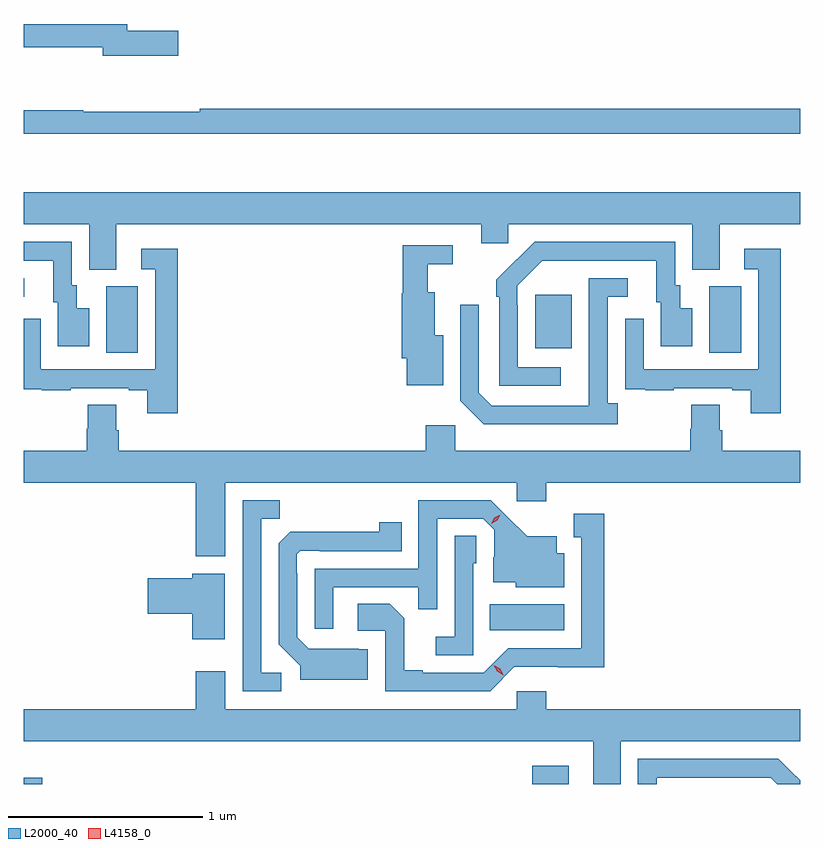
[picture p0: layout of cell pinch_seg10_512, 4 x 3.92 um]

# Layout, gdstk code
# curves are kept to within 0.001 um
import gdstk
lib = gdstk.Library(unit=1e-6, precision=1e-09)
def R(c, l, rs):  # rectangles x0, y0, x1, y1
    for r in rs: c.add(gdstk.rectangle(r[:2], r[2:], *l))
def P(c, l, *ps):  # polygons
    for p in ps: c.add(gdstk.Polygon(p, *l))
L2000_40 = (2000, 40)
L4158_0 = (4158, 0)

pinch_seg10_512 = lib.new_cell('pinch_seg10_512')
R(pinch_seg10_512, L2000_40, [(220.216,1272.123,220.312,1272.156), (222.835,1272.123,223.024,1272.217), (222.616,1272.914,223,1273.048), (220.64,1274.344,220.804,1274.688), (223.748,1274.344,223.912,1274.688), (222.851,1274.369,223.039,1274.644), (220.216,1274.634,220.219,1274.73)])
P(pinch_seg10_512, L2000_40, [(221.011,1276.005),(220.75,1276.005),(220.75,1276.039),(220.216,1276.039),(220.216,1275.918),(220.622,1275.918),(220.622,1275.875),(221.011,1275.875)],
  [(224.216,1275.602),(221.122,1275.602),(221.122,1275.587),(220.522,1275.587),(220.522,1275.595),(220.216,1275.595),(220.216,1275.474),(224.216,1275.474)],
  [(220.693,1275.008),(222.572,1275.008),(222.572,1274.91),(222.711,1274.91),(222.711,1275.008),(223.661,1275.008),(223.661,1274.773),(223.801,1274.773),(223.801,1275.008),(224.216,1275.008),(224.216,1275.172),(220.216,1275.172),(220.216,1275.008),(220.553,1275.008),(220.553,1274.773),(220.693,1274.773)],
  [(222.982,1274.271),(222.762,1274.271),(222.762,1274.591),(222.759,1274.591),(222.759,1274.691),(222.888,1274.82),(223.475,1274.82),(223.475,1274.604),(223.499,1274.604),(223.499,1274.379),(223.66,1274.379),(223.66,1274.575),(223.597,1274.575),(223.597,1274.694),(223.572,1274.694),(223.572,1274.916),(222.848,1274.916),(222.651,1274.721),(222.651,1274.633),(222.666,1274.633),(222.666,1274.175),(222.982,1274.175)],
  [(220.552,1274.575),(220.489,1274.575),(220.489,1274.694),(220.464,1274.694),(220.464,1274.916),(220.216,1274.916),(220.216,1274.82),(220.367,1274.82),(220.367,1274.604),(220.391,1274.604),(220.391,1274.379),(220.552,1274.379)],
  [(222.376,1274.434),(222.334,1274.434),(222.334,1274.656),(222.298,1274.656),(222.298,1274.801),(222.427,1274.801),(222.427,1274.898),(222.169,1274.898),(222.169,1274.652),(222.164,1274.652),(222.164,1274.316),(222.188,1274.316),(222.188,1274.177),(222.376,1274.177)],
  [(224.117,1274.881),(223.929,1274.881),(223.929,1274.775),(224.001,1274.775),(224.001,1274.259),(223.41,1274.259),(223.41,1274.521),(223.314,1274.521),(223.314,1274.266),(223.315,1274.266),(223.315,1274.157),(223.417,1274.157),(223.417,1274.151),(223.565,1274.151),(223.565,1274.163),(223.865,1274.163),(223.865,1274.151),(223.961,1274.151),(223.961,1274.034),(224.117,1274.034)],
  [(221.009,1274.881),(220.821,1274.881),(220.821,1274.775),(220.893,1274.775),(220.893,1274.259),(220.302,1274.259),(220.302,1274.521),(220.216,1274.521),(220.216,1274.157),(220.309,1274.157),(220.309,1274.151),(220.457,1274.151),(220.457,1274.163),(220.757,1274.163),(220.757,1274.151),(220.853,1274.151),(220.853,1274.034),(221.009,1274.034)],
  [(223.276,1274.086),(223.224,1274.086),(223.224,1274.634),(223.327,1274.634),(223.327,1274.73),(223.128,1274.73),(223.127,1274.073),(222.627,1274.073),(222.561,1274.139),(222.561,1274.593),(222.465,1274.593),(222.465,1274.097),(222.586,1273.976),(223.276,1273.976)],
  [(221.254,1273.676),(222.756,1273.676),(222.756,1273.581),(222.908,1273.581),(222.908,1273.676),(224.216,1273.676),(224.216,1273.84),(223.814,1273.84),(223.814,1273.946),(223.801,1273.946),(223.801,1274.078),(223.654,1274.078),(223.654,1273.953),(223.649,1273.953),(223.649,1273.84),(222.438,1273.84),(222.438,1273.972),(222.287,1273.972),(222.287,1273.84),(220.706,1273.84),(220.706,1273.946),(220.693,1273.946),(220.693,1274.078),(220.546,1274.078),(220.546,1273.953),(220.541,1273.953),(220.541,1273.84),(220.216,1273.84),(220.216,1273.676),(221.102,1273.676),(221.102,1273.296),(221.254,1273.296)],
  [(221.811,1273.137),(222.247,1273.137),(222.247,1273.024),(222.345,1273.024),(222.345,1273.491),(222.582,1273.491),(222.639,1273.434),(222.639,1273.292),(222.635,1273.292),(222.635,1273.163),(222.75,1273.163),(222.75,1273.136),(223,1273.136),(223,1273.312),(222.961,1273.312),(222.961,1273.399),(222.809,1273.399),(222.622,1273.584),(222.249,1273.584),(222.249,1273.233),(221.715,1273.233),(221.715,1272.924),(221.811,1272.924)],
  [(221.542,1272.696),(221.439,1272.696),(221.439,1273.489),(221.535,1273.489),(221.535,1273.584),(221.343,1273.584),(221.343,1272.6),(221.542,1272.6)],
  [(222.744,1272.726),(223.207,1272.725),(223.207,1273.516),(223.049,1273.516),(223.049,1273.395),(223.088,1273.395),(223.088,1272.822),(222.711,1272.822),(222.585,1272.696),(222.271,1272.696),(222.271,1272.709),(222.177,1272.709),(222.177,1272.976),(222.101,1273.052),(221.937,1273.052),(221.937,1272.912),(222.078,1272.912),(222.078,1272.6),(222.618,1272.6)],
  [(221.989,1272.817),(221.945,1272.817),(221.942,1272.82),(221.685,1272.819),(221.625,1272.879),(221.625,1273.208),(221.622,1273.208),(221.622,1273.308),(221.64,1273.326),(221.74,1273.326),(221.74,1273.323),(222.164,1273.323),(222.164,1273.471),(222.046,1273.471),(222.046,1273.424),(221.588,1273.423),(221.529,1273.364),(221.529,1272.842),(221.639,1272.732),(221.639,1272.659),(221.989,1272.659)],
  [(222.531,1273.26),(222.546,1273.26),(222.546,1273.403),(222.435,1273.403),(222.435,1272.883),(222.339,1272.883),(222.339,1272.786),(222.531,1272.786)],
  [(221.251,1273.207),(221.084,1273.207),(221.084,1273.184),(220.854,1273.184),(220.854,1273.001),(221.084,1273.001),(221.084,1272.87),(221.251,1272.87)],
  [(223.291,1272.344),(224.216,1272.344),(224.216,1272.508),(222.908,1272.508),(222.908,1272.601),(222.756,1272.601),(222.756,1272.508),(221.254,1272.508),(221.254,1272.703),(221.102,1272.703),(221.102,1272.508),(220.216,1272.508),(220.216,1272.344),(223.151,1272.344),(223.151,1272.123),(223.291,1272.123)],
  [(223.477,1272.156),(224.065,1272.156),(224.098,1272.123),(224.216,1272.123),(224.216,1272.142),(224.196,1272.162),(224.195,1272.161),(224.104,1272.252),(223.38,1272.252),(223.38,1272.123),(223.477,1272.123)])
P(pinch_seg10_512, L4158_0, [(222.687,1272.684),(222.655,1272.703),(222.638,1272.735),(222.638,1272.735),(222.638,1272.735),(222.67,1272.717),(222.687,1272.684),(222.687,1272.684)],
  [(222.624,1273.465),(222.624,1273.465),(222.641,1273.495),(222.671,1273.511),(222.672,1273.511),(222.672,1273.511),(222.655,1273.481),(222.624,1273.465)])

lib.write_gds('pinch_seg10_512.gds')
